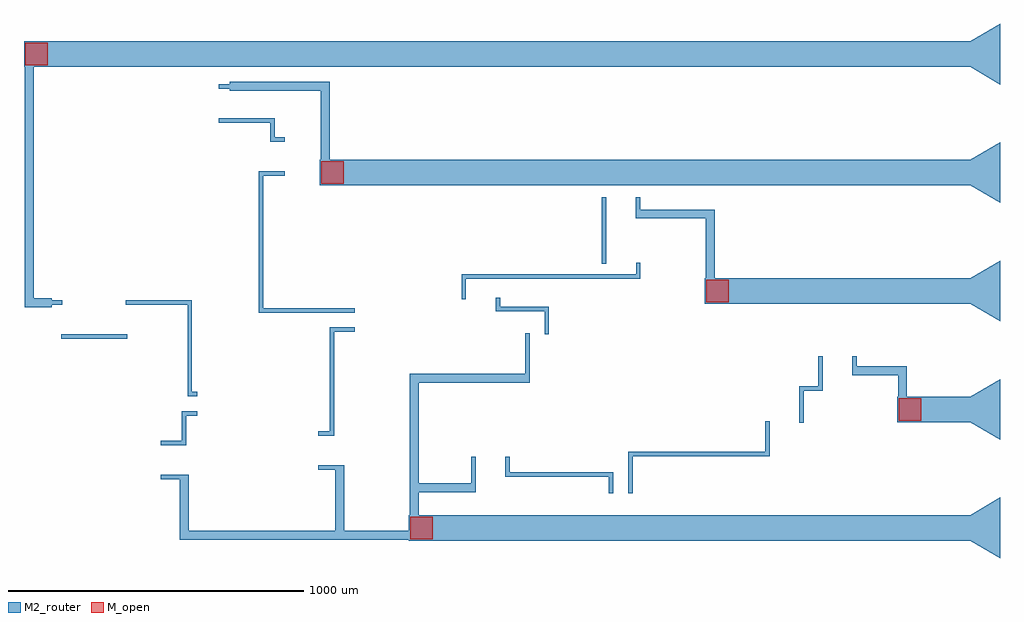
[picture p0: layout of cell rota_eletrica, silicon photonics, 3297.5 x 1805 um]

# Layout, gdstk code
import gdstk
lib = gdstk.Library(unit=1e-6, precision=1e-09)
def R(c, l, rs):  # rectangles x0, y0, x1, y1
    for r in rs: c.add(gdstk.rectangle(r[:2], r[2:], *l))
def P(c, l, *ps):  # polygons
    for p in ps: c.add(gdstk.Polygon(p, *l))
M2_router = (12, 0)
M_open = (13, 0)

isa_jose_v1_rota__taper_ = lib.new_cell('isa_jose_v1_rota__taper_gdsfactorypcomponentsptapersptaper_L100_W86_W205__78b4752e')
P(isa_jose_v1_rota__taper_, M2_router, [(100,-102.5),(0,-43),(0,43),(100,102.5)])

rota_eletrica = lib.new_cell('rota_eletrica')
P(rota_eletrica, M2_router, [(3076.358,-4032.894),(3076.358,-3977.5),(2725.904,-3977.5),(2725.904,-3909.524),(2740.904,-3909.524),(2740.904,-3962.5),(3091.358,-3962.5),(3091.358,-4032.894)],
  [(3141.358,-4032.894),(3141.358,-3892.5),(3603.945,-3892.5),(3603.945,-3790.594),(3618.945,-3790.594),(3618.945,-3907.5),(3156.358,-3907.5),(3156.358,-4032.894)],
  [(1562.49,-3871.29),(1562.49,-3856.29),(1632.5,-3856.29),(1632.5,-3756.008),(1685.076,-3756.008),(1685.076,-3771.008),(1647.5,-3771.008),(1647.5,-3871.29)],
  [(3718.945,-3794.594),(3718.945,-3672.5),(3783.314,-3672.5),(3783.314,-3570.506),(3798.314,-3570.506),(3798.314,-3687.5),(3733.945,-3687.5),(3733.945,-3794.594)],
  [(4050,-3793),(4050,-3707),(4053,-3707),(4053,-3635),(3898.314,-3635),(3898.314,-3570.506),(3913.314,-3570.506),(3913.314,-3605),(4083,-3605),(4083,-3707),(4297.5,-3707),(4297.5,-3793)],
  [(1226.01,-3511.965),(1226.01,-3496.965),(1332.5,-3496.965),(1332.5,-3496.885),(1448.25,-3496.885),(1448.25,-3511.885),(1347.5,-3511.885),(1347.5,-3511.965)],
  [(2400,-4193),(2400,-4190),(1626.816,-4190),(1626.816,-3986.29),(1562.49,-3986.29),(1562.49,-3971.29),(1656.816,-3971.29),(1656.816,-4160),(2152.016,-4160),(2152.016,-3953.7),(2094.516,-3953.7),(2094.516,-3938.7),(2182.016,-3938.7),(2182.016,-4160),(2400,-4160),(2400,-4107),(2403,-4107),(2403,-3629.584),(2793.596,-3629.584),(2793.596,-3492.47),(2808.596,-3492.47),(2808.596,-3659.584),(2433,-3659.584),(2433,-3999.584),(2610.904,-3999.584),(2610.904,-3909.524),(2625.904,-3909.524),(2625.904,-4029.584),(2433,-4029.584),(2433,-4107),(4297.5,-4107),(4297.5,-4193)],
  [(2094.516,-3838.7),(2094.516,-3823.7),(2132.5,-3823.7),(2132.5,-3473.246),(2217.102,-3473.246),(2217.102,-3488.246),(2147.5,-3488.246),(2147.5,-3838.7)],
  [(1652.5,-3706.008),(1652.5,-3396.885),(1444.25,-3396.885),(1444.25,-3381.885),(1667.5,-3381.885),(1667.5,-3691.008),(1685.076,-3691.008),(1685.076,-3706.008)],
  [(2858.596,-3496.47),(2858.596,-3418.644),(2693.314,-3418.644),(2693.314,-3373.1),(2708.314,-3373.1),(2708.314,-3403.644),(2873.596,-3403.644),(2873.596,-3496.47)],
  [(2578.314,-3377.1),(2578.314,-3294.244),(3167.719,-3294.244),(3167.719,-3254.17),(3182.719,-3254.17),(3182.719,-3309.244),(2593.314,-3309.244),(2593.314,-3377.1)],
  [(3052.719,-3258.17),(3052.719,-3153.626),(3052.639,-3153.626),(3052.639,-3034.082),(3067.639,-3034.082),(3067.639,-3138.626),(3067.719,-3138.626),(3067.719,-3258.17)],
  [(3400,-3393),(3400,-3307),(3403,-3307),(3403,-3104.794),(3167.639,-3104.794),(3167.639,-3034.082),(3182.639,-3034.082),(3182.639,-3074.794),(3433,-3074.794),(3433,-3307),(4297.5,-3307),(4297.5,-3393)],
  [(1892.5,-3423.246),(1892.5,-2945.659),(1980.276,-2945.659),(1980.276,-2960.659),(1907.5,-2960.659),(1907.5,-3408.246),(2217.102,-3408.246),(2217.102,-3423.246)],
  [(1932.5,-2845.659),(1932.5,-2781.29),(1758.036,-2781.29),(1758.036,-2766.29),(1947.5,-2766.29),(1947.5,-2830.659),(1980.276,-2830.659),(1980.276,-2845.659)],
  [(2100,-2993),(2100,-2907),(2103,-2907),(2103,-2673.79),(1794.536,-2673.79),(1794.536,-2666.29),(1758.036,-2666.29),(1758.036,-2651.29),(1794.536,-2651.29),(1794.536,-2643.79),(2133,-2643.79),(2133,-2907),(4297.5,-2907),(4297.5,-2993)],
  [(1103,-3404.465),(1103,-2593),(1100,-2593),(1100,-2507),(4297.5,-2507),(4297.5,-2593),(1133,-2593),(1133,-3374.465),(1193.51,-3374.465),(1193.51,-3381.965),(1230.01,-3381.965),(1230.01,-3396.965),(1193.51,-3396.965),(1193.51,-3404.465)])
R(rota_eletrica, M_open, [(2405,-4188,2481,-4112), (4055,-3788,4131,-3712), (3405,-3388,3481,-3312), (2105,-2988,2181,-2912), (1105,-2588,1181,-2512)])
rota_eletrica.add(gdstk.Reference(isa_jose_v1_rota__taper_, (4297.5,-4150)))
rota_eletrica.add(gdstk.Reference(isa_jose_v1_rota__taper_, (4297.5,-3750)))
rota_eletrica.add(gdstk.Reference(isa_jose_v1_rota__taper_, (4297.5,-3350)))
rota_eletrica.add(gdstk.Reference(isa_jose_v1_rota__taper_, (4297.5,-2950)))
rota_eletrica.add(gdstk.Reference(isa_jose_v1_rota__taper_, (4297.5,-2550)))

lib.write_gds('rota_eletrica.gds')
